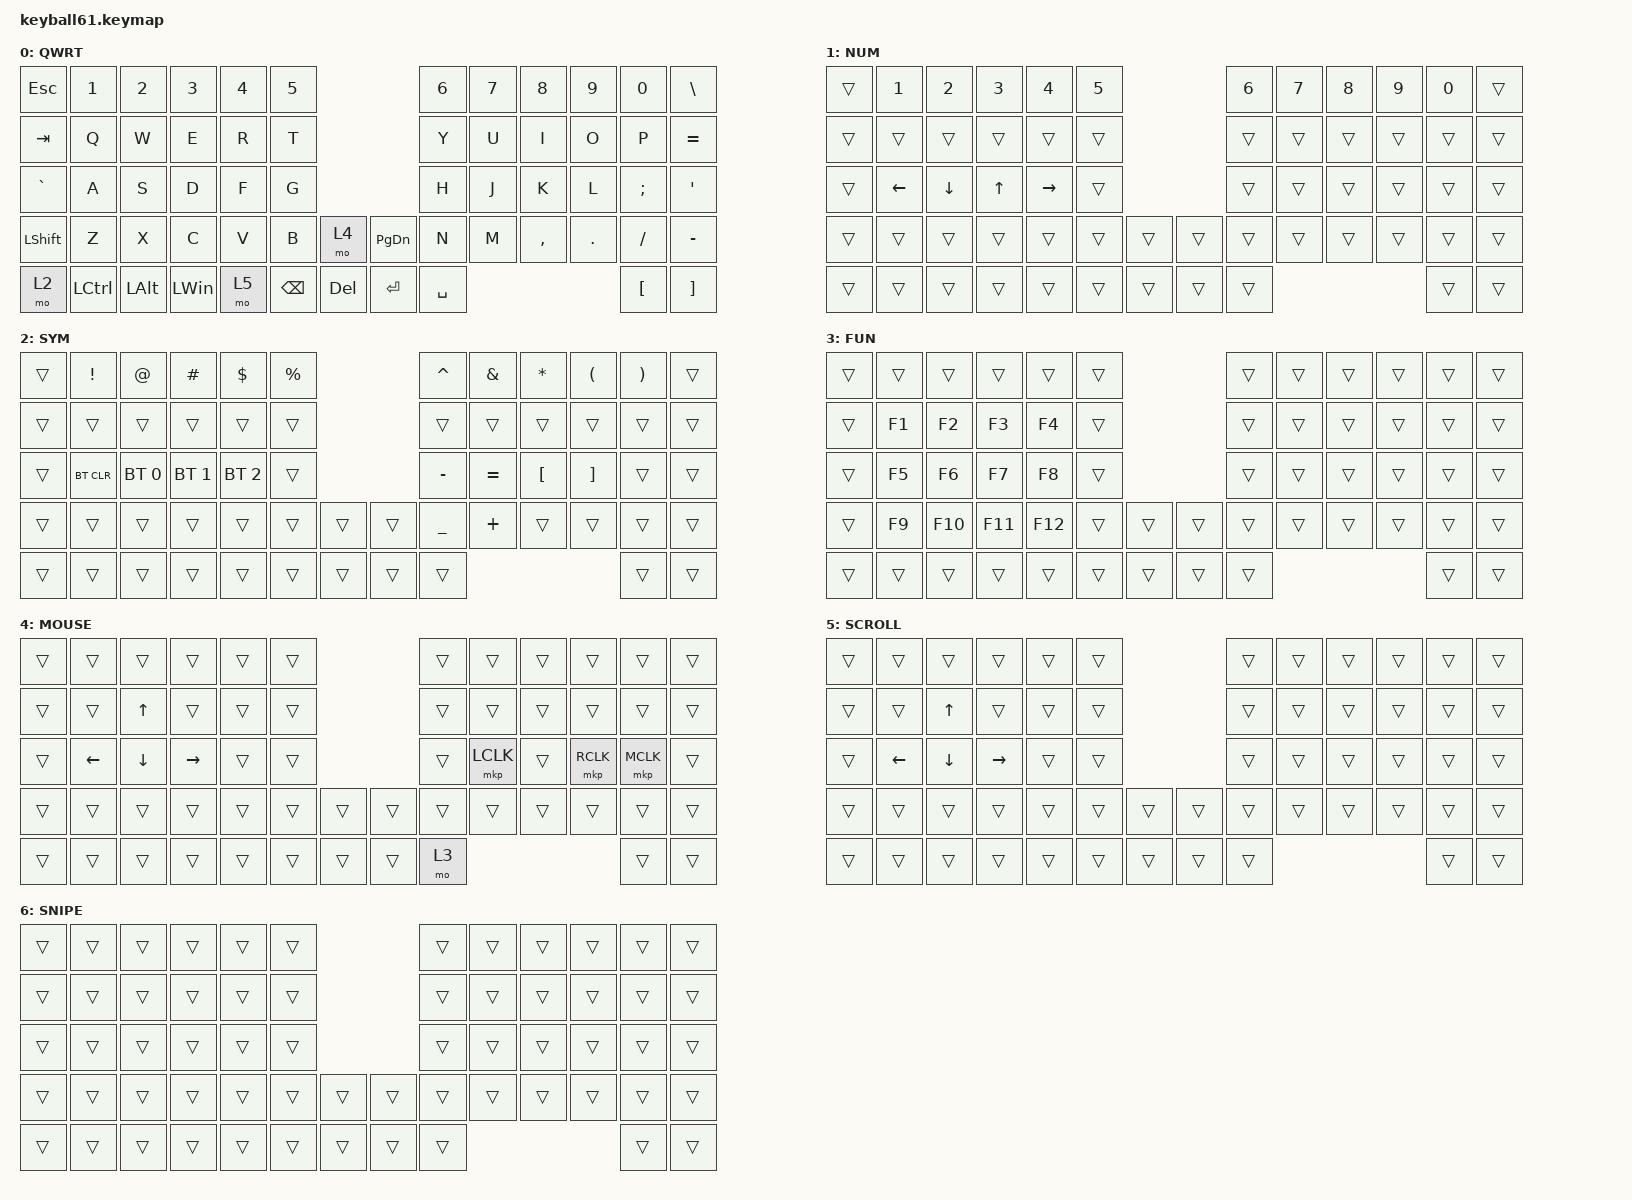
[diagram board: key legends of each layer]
#define DEFAULT 0
#define SYM     1
#define FUN     2
#define MOUSE   3
#define SCROLL  4
#define SNIPE   5

#include <behaviors/mouse_keys.dtsi>
#include <dt-bindings/zmk/mouse.h>
#include <behaviors.dtsi>
#include <dt-bindings/zmk/bt.h>
#include <dt-bindings/zmk/keys.h>
#include <dt-bindings/zmk/pointing.h>

&lt {
    tapping-term-ms = <240>;
    flavor = "balanced";
    quick-tap-ms = <150>;
};

&mt {
    tapping-term-ms = <200>;
    flavor = "tap-preferred";
    quick-tap-ms = <150>;
};

/ {
    keymap {
        compatible = "zmk,keymap";

        default_layer {
            label = "QWRT";
            bindings = <
&kp ESC         &kp N1     &kp N2        &kp N3        &kp N4  &kp N5                                    &kp N6     &kp N7  &kp N8     &kp N9   &kp N0            &kp BACKSLASH
&kp TAB         &kp Q      &kp W         &kp E         &kp R   &kp T                                     &kp Y      &kp U   &kp I      &kp O    &kp P             &kp EQUAL
&kp GRAVE       &kp A      &kp S         &kp D         &kp F   &kp G                                     &kp H      &kp J   &kp K      &kp L    &kp SEMI          &kp SQT
&kp LEFT_SHIFT  &kp Z      &kp X         &kp C         &kp V   &kp B          &mo 4       &kp PAGE_DOWN  &kp N      &kp M   &kp COMMA  &kp DOT  &kp FSLH          &kp MINUS
&mo 2           &kp LCTRL  &kp LEFT_ALT  &kp LEFT_WIN  &mo 5   &kp BACKSPACE  &kp DELETE  &kp ENTER      &kp SPACE                              &kp LEFT_BRACKET  &kp RIGHT_BRACKET
            >;
        };

        number_layer {
            bindings = <
&trans  &kp N1    &kp N2    &kp N3  &kp N4     &kp N5                  &kp N6  &kp N7  &kp N8  &kp N9  &kp N0  &trans
&trans  &trans    &trans    &trans  &trans     &trans                  &trans  &trans  &trans  &trans  &trans  &trans
&trans  &kp LEFT  &kp DOWN  &kp UP  &kp RIGHT  &trans                  &trans  &trans  &trans  &trans  &trans  &trans
&trans  &trans    &trans    &trans  &trans     &trans  &trans  &trans  &trans  &trans  &trans  &trans  &trans  &trans
&trans  &trans    &trans    &trans  &trans     &trans  &trans  &trans  &trans                          &trans  &trans
            >;

            label = "NUM";
        };

        symbol_layer {
            label = "SYM";
            bindings = <
&trans  &kp EXCLAMATION  &kp AT_SIGN   &kp HASH      &kp DOLLAR    &kp PERCENT                  &kp CARET       &kp AMPERSAND  &kp ASTERISK      &kp LEFT_PARENTHESIS  &kp RIGHT_PARENTHESIS  &trans
&trans  &trans           &trans        &trans        &trans        &trans                       &trans          &trans         &trans            &trans                &trans                 &trans
&trans  &bt BT_CLR       &bt BT_SEL 0  &bt BT_SEL 1  &bt BT_SEL 2  &trans                       &kp MINUS       &kp EQUAL      &kp LEFT_BRACKET  &kp RIGHT_BRACKET     &trans                 &trans
&trans  &trans           &trans        &trans        &trans        &trans       &trans  &trans  &kp UNDERSCORE  &kp PLUS       &trans            &trans                &trans                 &trans
&trans  &trans           &trans        &trans        &trans        &trans       &trans  &trans  &trans                                                                 &trans                 &trans
            >;
        };

        function_layer {
            label = "FUN";
            bindings = <
&trans  &trans  &trans   &trans   &trans   &trans                  &trans  &trans  &trans  &trans  &trans  &trans
&trans  &kp F1  &kp F2   &kp F3   &kp F4   &trans                  &trans  &trans  &trans  &trans  &trans  &trans
&trans  &kp F5  &kp F6   &kp F7   &kp F8   &trans                  &trans  &trans  &trans  &trans  &trans  &trans
&trans  &kp F9  &kp F10  &kp F11  &kp F12  &trans  &trans  &trans  &trans  &trans  &trans  &trans  &trans  &trans
&trans  &trans  &trans   &trans   &trans   &trans  &trans  &trans  &trans                          &trans  &trans
            >;
        };

        mouse_layer {
            label = "MOUSE";
            bindings = <
&trans  &trans    &trans        &trans     &trans  &trans                  &trans  &trans     &trans  &trans     &trans     &trans
&trans  &trans    &kp UP_ARROW  &trans     &trans  &trans                  &trans  &trans     &trans  &trans     &trans     &trans
&trans  &kp LEFT  &kp DOWN      &kp RIGHT  &trans  &trans                  &trans  &mkp LCLK  &trans  &mkp RCLK  &mkp MCLK  &trans
&trans  &trans    &trans        &trans     &trans  &trans  &trans  &trans  &trans  &trans     &trans  &trans     &trans     &trans
&trans  &trans    &trans        &trans     &trans  &trans  &trans  &trans  &mo 3                                 &trans     &trans
            >;
        };

        scroll_layer {
            label = "SCROLL";
            bindings = <
&trans  &trans          &trans          &trans           &trans  &trans                  &trans  &trans  &trans  &trans  &trans  &trans
&trans  &trans          &kp UP_ARROW    &trans           &trans  &trans                  &trans  &trans  &trans  &trans  &trans  &trans
&trans  &kp LEFT_ARROW  &kp DOWN_ARROW  &kp RIGHT_ARROW  &trans  &trans                  &trans  &trans  &trans  &trans  &trans  &trans
&trans  &trans          &trans          &trans           &trans  &trans  &trans  &trans  &trans  &trans  &trans  &trans  &trans  &trans
&trans  &trans          &trans          &trans           &trans  &trans  &trans  &trans  &trans                          &trans  &trans
            >;
        };

        snipe_layer {
            label = "SNIPE";
            bindings = <
&trans  &trans  &trans  &trans  &trans  &trans                  &trans  &trans  &trans  &trans  &trans  &trans
&trans  &trans  &trans  &trans  &trans  &trans                  &trans  &trans  &trans  &trans  &trans  &trans
&trans  &trans  &trans  &trans  &trans  &trans                  &trans  &trans  &trans  &trans  &trans  &trans
&trans  &trans  &trans  &trans  &trans  &trans  &trans  &trans  &trans  &trans  &trans  &trans  &trans  &trans
&trans  &trans  &trans  &trans  &trans  &trans  &trans  &trans  &trans                          &trans  &trans
            >;
        };
    };
};
